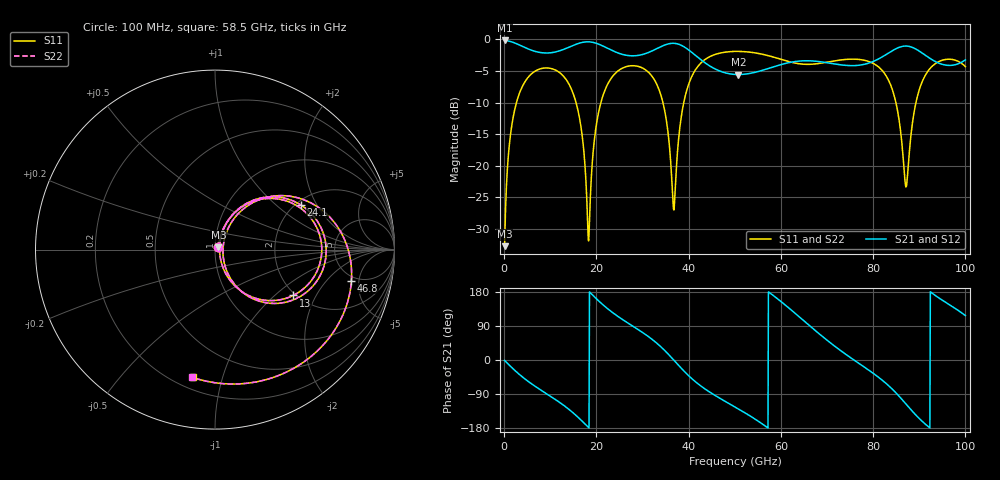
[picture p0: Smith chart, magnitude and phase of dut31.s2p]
! Touchstone file exported from HFSS 2026.1.0
!  File:  C:/ffzhzh/LocalFiles/Ansys_Project_Files/temp_train_TSV_RDL_31_1783616893_33328.aedt
!  Generated:  01:15:54 AM Jul 10, 2026
!  Design:  TSV_RDL
!  Project:  temp_train_TSV_RDL_31_1783616893_33328
! Variables:
!  h_bsmrdl = 4.2um
!  h_ox = 20um
!  h_rdl = 5um
!  h_sub = 81.34um
!  h_tmrdl = 2.13um
!  h_tsv = 81.34um
!  h_via = 3um
!  l_bsmrdl = 635.72um
!  l_sub = 3065.43um
!  l_tmrdl = 164.51um
!  m_sub = 200um
!  pitch = 57.05um
!  r_tsv = 14.09um
!  s_tmrdl = 10um
!  w_bsmrdl = 13.19um
!  w_sub = 500um
!  w_tmrdl = 20.22um
!  x_tsv_center1 = 174.62um
!  x_tsv_center2 = 823.53um
!  x_tsv_center3 = 1008.26um
!  x_tsv_center4 = 1657.17um
!  x_tsv_center5 = 1841.9um
!  x_tsv_center6 = 2490.81um
# GHz S MA R 50.000000
! Terminal data exported
! Port[1] = TM_RDL1_1_T1
! Port[2] = TM_RDL5_1_T1
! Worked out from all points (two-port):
!   1000 points, 100 MHz to 100 GHz, reference 50 ohm
!   highest |S21| = -0.16 dB at 100 MHz (marker M1); lowest = -5.6 dB at 50.8 GHz (marker M2)
!   |S21| within 3 dB of the highest: start of sweep to 42.58 GHz; 80.96 GHz to 92.67 GHz (11.71 GHz wide, 13.5 % of centre)
!   lowest |S11| = -32.7 dB at 100 MHz (marker M3), VSWR 1.05, Z = 51.9 + j1.38 ohm
!   |S11| at or under -10 dB: 15.59 GHz to 20.97 GHz (5.383 GHz wide, 29.4 % of centre); 34.43 GHz to 38.94 GHz (4.51 GHz wide, 12.3 % of centre); 84.94 GHz to 89.28 GHz (4.342 GHz wide, 4.99 % of centre) (the widest 3 of 4)
!   |S22| runs from -32.7 to -1.9 dB; largest |S21 - S12| = 7.7e-14
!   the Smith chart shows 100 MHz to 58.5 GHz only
!   S11 on the Smith chart (normalised r, x): 100 MHz: 1.04, +0.03; 13 GHz: 1.94, -1.33; 24.1 GHz: 2.13, +1.49; 46.8 GHz: 4.49, -3.95; 58.5 GHz: 0.27, -0.80
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0.1  0.02316 35.1  0.9813 -1.3  0.9813 -1.3  0.02316 35.1
! Gamma 0 0 0 0
! Port Impedance 50 0 50 0
1.4  0.1793 65.8  0.9615 -17.0  0.9615 -17.0  0.1793 65.8
3.5  0.3902 46.4  0.8969 -40.1  0.8969 -40.1  0.3902 46.4
8.3  0.5909 6.3  0.7836 -82.0  0.7836 -82.0  0.5909 6.3
13  0.505 -30.4  0.8367 -120.4  0.8367 -120.4  0.505 -30.4
16.8  0.187 -64.1  0.9446 -160.0  0.9446 -160.0  0.1869 -64.1
18.3  0.02548 1.7  0.9572 -178.1  0.9572 -178.1  0.02531 1.7
20.4  0.2567 60.4  0.9202 157.0  0.9202 157.0  0.2566 60.4
24.1  0.5394 27.3  0.7966 119.9  0.7966 119.9  0.5394 27.4
33.4  0.4162 -45.6  0.8558 41.1  0.8558 41.1  0.4162 -45.5
36.8  0.04477 3.1  0.9314 -0.5  0.9314 -0.5  0.04494 3.2
39.9  0.4311 43.4  0.8309 -40.3  0.8309 -40.3  0.4311 43.5
46.8  0.7795 -12.8  0.5614 -101.3  0.5614 -101.3  0.7795 -12.8
50.1  0.8038 -34.8  0.5284 -124.3  0.5284 -124.3  0.8037 -34.8
50.8  0.8039 -39.6  0.5275 -129.2  0.5275 -129.2  0.8038 -39.6
58.5  0.7231 -99.9  0.6086 168.8  0.6086 168.8  0.7227 -100.2
66.7  0.6364 176.3  0.6761 85.5  0.6761 85.5  0.6362 175.6
75.2  0.6981 95.6  0.6205 5.4  0.6205 5.4  0.6982 95.2
83.4  0.4704 27.2  0.7828 -68.3  0.7828 -68.3  0.4708 27.4
87.1  0.06808 59.4  0.8864 -115.9  0.8864 -115.9  0.07207 59.5
91.2  0.5119 96.4  0.7542 -168.0  0.7542 -168.0  0.5124 95.9
100  0.6087 31.1  0.6894 117.0  0.6894 117.0  0.6091 31.1
